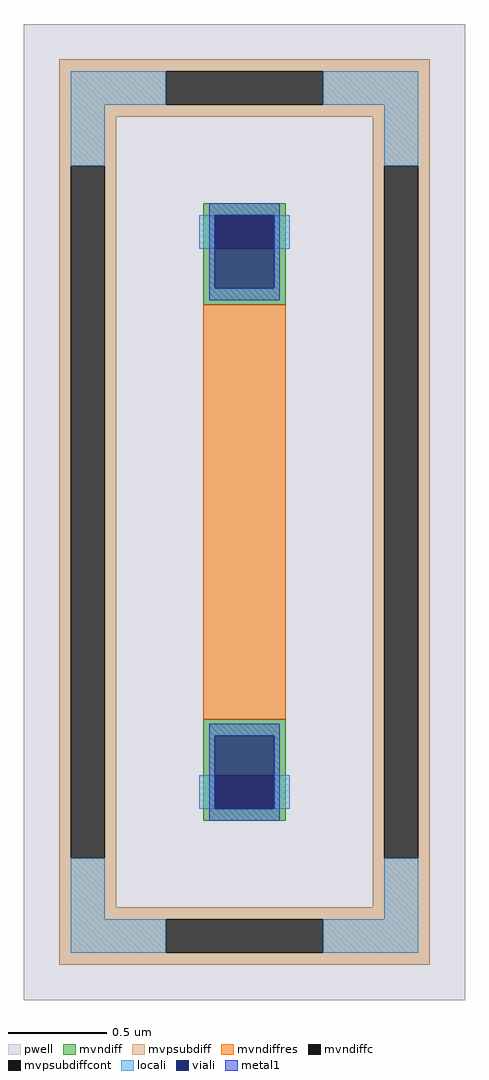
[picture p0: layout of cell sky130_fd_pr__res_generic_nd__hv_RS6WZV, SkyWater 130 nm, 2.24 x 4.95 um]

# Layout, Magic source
magic
tech sky130A
magscale 1 2
<< pwell >>
rect -224 -495 224 495
<< mvndiff >>
rect -42 301 42 313
rect -42 267 -30 301
rect 30 267 42 301
rect -42 210 42 267
rect -42 -267 42 -210
rect -42 -301 -30 -267
rect 30 -301 42 -267
rect -42 -313 42 -301
<< mvndiffc >>
rect -30 267 30 301
rect -30 -301 30 -267
<< mvpsubdiff >>
rect -188 447 188 459
rect -188 413 -80 447
rect 80 413 188 447
rect -188 401 188 413
rect -188 351 -130 401
rect -188 -351 -176 351
rect -142 -351 -130 351
rect 130 351 188 401
rect -188 -401 -130 -351
rect 130 -351 142 351
rect 176 -351 188 351
rect 130 -401 188 -351
rect -188 -413 188 -401
rect -188 -447 -80 -413
rect 80 -447 188 -413
rect -188 -459 188 -447
<< mvpsubdiffcont >>
rect -80 413 80 447
rect -176 -351 -142 351
rect 142 -351 176 351
rect -80 -447 80 -413
<< mvndiffres >>
rect -42 -210 42 210
<< locali >>
rect -176 413 -80 447
rect 80 413 176 447
rect -176 351 -142 413
rect 142 351 176 413
rect -46 267 -30 301
rect 30 267 46 301
rect -46 -301 -30 -267
rect 30 -301 46 -267
rect -176 -413 -142 -351
rect 142 -413 176 -351
rect -176 -447 -80 -413
rect 80 -447 176 -413
<< viali >>
rect -30 267 30 301
rect -30 227 30 267
rect -30 -267 30 -227
rect -30 -301 30 -267
<< metal1 >>
rect -36 301 36 313
rect -36 227 -30 301
rect 30 227 36 301
rect -36 215 36 227
rect -36 -227 36 -215
rect -36 -301 -30 -227
rect 30 -301 36 -227
rect -36 -313 36 -301
<< properties >>
string FIXED_BBOX -159 -430 159 430
string gencell sky130_fd_pr__res_generic_nd__hv
string library sky130
string parameters w 0.42 l 2.1 m 1 nx 1 wmin 0.42 lmin 2.10 rho 120 val 630.0 dummy 0 dw 0.02 term 0.0 sterm 0.0 caplen 0.4 snake 0 guard 1 glc 1 grc 1 gtc 1 gbc 1 roverlap 0 endcov 100 full_metal 1 vias 1 viagb 0 viagt 0 viagl 0 viagr 0
<< end >>
